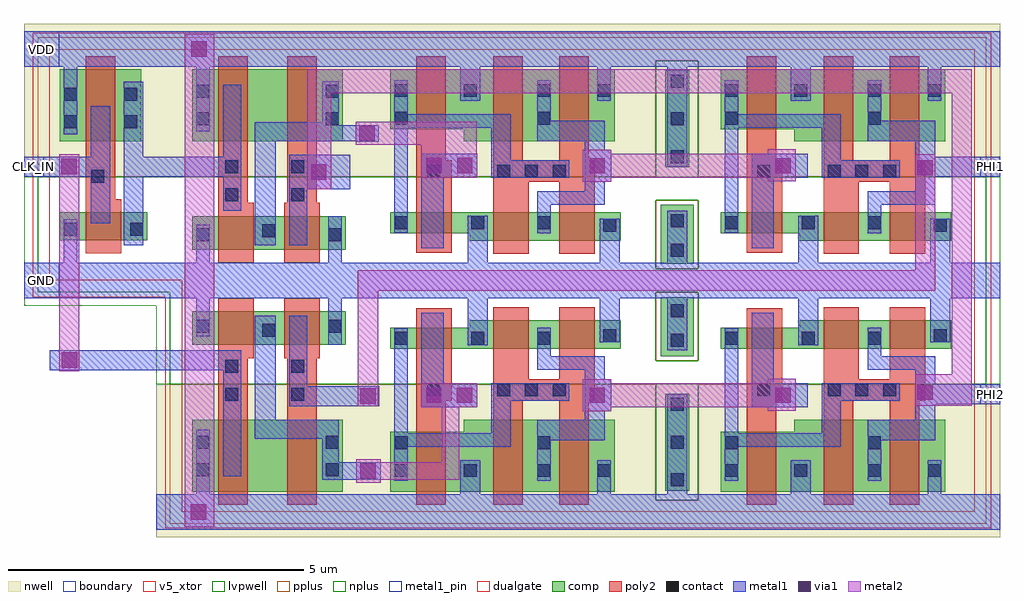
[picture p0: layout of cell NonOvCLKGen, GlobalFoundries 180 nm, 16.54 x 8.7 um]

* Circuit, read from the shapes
.subckt NonOvCLKGen CLK_IN GND PHI1 PHI2 VDD
XM1 gf180mcu_fd_sc_mcu7t5v0__nor2_1_1/A2 CLK_IN GND GND nfet_05v0 w=0.48u l=0.6u
XM2 gf180mcu_fd_sc_mcu7t5v0__clkbuf_2_7/I CLK_IN GND GND nfet_05v0 w=0.565u l=0.6u
XM3 gf180mcu_fd_sc_mcu7t5v0__clkbuf_2_8/I gf180mcu_fd_sc_mcu7t5v0__nor2_1_1/A2 GND GND nfet_05v0 w=0.565u l=0.6u
XM4 GND PHI1 gf180mcu_fd_sc_mcu7t5v0__clkbuf_2_7/I GND nfet_05v0 w=0.565u l=0.6u
XM5 GND PHI2 gf180mcu_fd_sc_mcu7t5v0__clkbuf_2_8/I GND nfet_05v0 w=0.565u l=0.6u
XM6 GND gf180mcu_fd_sc_mcu7t5v0__clkbuf_2_7/I n1 GND nfet_05v0 w=0.36u l=0.6u
XM7 GND gf180mcu_fd_sc_mcu7t5v0__clkbuf_2_8/I n2 GND nfet_05v0 w=0.36u l=0.6u
XM8 gf180mcu_fd_sc_mcu7t5v0__clkbuf_2_5/I n1 GND GND nfet_05v0 w=0.485u l=0.6u m=2
XM9 gf180mcu_fd_sc_mcu7t5v0__clkbuf_2_6/I n2 GND GND nfet_05v0 w=0.485u l=0.6u m=2
XM10 GND gf180mcu_fd_sc_mcu7t5v0__clkbuf_2_5/I n3 GND nfet_05v0 w=0.36u l=0.6u
XM11 GND gf180mcu_fd_sc_mcu7t5v0__clkbuf_2_6/I n4 GND nfet_05v0 w=0.36u l=0.6u
XM12 PHI2 n3 GND GND nfet_05v0 w=0.485u l=0.6u m=2
XM13 PHI1 n4 GND GND nfet_05v0 w=0.485u l=0.6u m=2
XM14 gf180mcu_fd_sc_mcu7t5v0__nor2_1_1/A2 CLK_IN VDD VDD pfet_05v0 w=1.22u l=0.5u
XM15 n5 CLK_IN VDD VDD pfet_05v0 w=1.22u l=0.5u
XM16 n6 gf180mcu_fd_sc_mcu7t5v0__nor2_1_1/A2 VDD VDD pfet_05v0 w=1.22u l=0.5u
XM17 gf180mcu_fd_sc_mcu7t5v0__clkbuf_2_7/I PHI1 n5 VDD pfet_05v0 w=1.22u l=0.5u
XM18 gf180mcu_fd_sc_mcu7t5v0__clkbuf_2_8/I PHI2 n6 VDD pfet_05v0 w=1.22u l=0.5u
XM19 VDD gf180mcu_fd_sc_mcu7t5v0__clkbuf_2_7/I n1 VDD pfet_05v0 w=1.02u l=0.5u
XM20 VDD gf180mcu_fd_sc_mcu7t5v0__clkbuf_2_8/I n2 VDD pfet_05v0 w=1.02u l=0.5u
XM21 gf180mcu_fd_sc_mcu7t5v0__clkbuf_2_5/I n1 VDD VDD pfet_05v0 w=1.22u l=0.5u m=2
XM22 gf180mcu_fd_sc_mcu7t5v0__clkbuf_2_6/I n2 VDD VDD pfet_05v0 w=1.22u l=0.5u m=2
XM23 VDD gf180mcu_fd_sc_mcu7t5v0__clkbuf_2_5/I n3 VDD pfet_05v0 w=1.02u l=0.5u
XM24 VDD gf180mcu_fd_sc_mcu7t5v0__clkbuf_2_6/I n4 VDD pfet_05v0 w=1.02u l=0.5u
XM25 PHI2 n3 VDD VDD pfet_05v0 w=1.22u l=0.5u m=2
XM26 PHI1 n4 VDD VDD pfet_05v0 w=1.22u l=0.5u m=2
.ends

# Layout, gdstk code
import gdstk
lib = gdstk.Library(unit=1e-6, precision=1e-09)
def R(c, l, rs):  # rectangles x0, y0, x1, y1
    for r in rs: c.add(gdstk.rectangle(r[:2], r[2:], *l))
def A(c, l, x, y, w, h, nx, ny, dx, dy):  # array of equal rectangles
    R(c, l, [(x+i*dx, y+j*dy, x+i*dx+w, y+j*dy+h) for i in range(nx) for j in range(ny)])
def P(c, l, *ps):  # polygons
    for p in ps: c.add(gdstk.Polygon(p, *l))
boundary = (0, 0)
nwell = (21, 0)
comp = (22, 0)
poly2 = (30, 0)
pplus = (31, 0)
nplus = (32, 0)
contact = (33, 0)
metal1 = (34, 0)
metal1_pin = (34, 10)
via1 = (35, 0)
metal2 = (36, 0)
dualgate = (55, 0)
v5_xtor = (112, 1)
lvpwell = (204, 0)

gf180mcu_fd_sc_mcu7t5v0_ = lib.new_cell('gf180mcu_fd_sc_mcu7t5v0__nor2_1')
R(gf180mcu_fd_sc_mcu7t5v0_, boundary, [(0,0,3.36,3.92)])
R(gf180mcu_fd_sc_mcu7t5v0_, nwell, [(-0.43,1.76,3.79,4.35)])
R(gf180mcu_fd_sc_mcu7t5v0_, comp, [(0.18,0.525,2.78,1.09), (0.18,2.36,2.73,3.58)])
P(gf180mcu_fd_sc_mcu7t5v0_, poly2, [(0.62,0.305),(0.62,3.8),(1.12,3.8),(1.12,1.315),(1.22,1.315),(1.22,0.305)],
  [(1.74,0.305),(1.74,1.315),(1.79,1.315),(1.79,3.8),(2.29,3.8),(2.29,1.315),(2.34,1.315),(2.34,0.305)])
R(gf180mcu_fd_sc_mcu7t5v0_, pplus, [(-0.2,1.76,3.56,4.12)])
R(gf180mcu_fd_sc_mcu7t5v0_, nplus, [(-0.2,-0.2,3.56,1.76)])
R(gf180mcu_fd_sc_mcu7t5v0_, contact, [(0.25,0.665,0.47,0.885), (2.49,0.665,2.71,0.885), (1.37,0.735,1.59,0.955), (0.74,1.345,0.96,1.565), (1.86,1.345,2.08,1.565), (0.74,1.815,0.96,2.035), (1.86,1.815,2.08,2.035), (0.25,2.63,0.47,2.85), (2.44,2.63,2.66,2.85), (0.25,3.1,0.47,3.32), (2.44,3.1,2.66,3.32)])
R(gf180mcu_fd_sc_mcu7t5v0_, metal1, [(0.705,1.18,1.01,3.32)])
P(gf180mcu_fd_sc_mcu7t5v0_, metal1, [(1.24,0.6),(1.24,2.68),(2.385,2.68),(2.385,3.38),(2.665,3.38),(2.665,2.36),(1.595,2.36),(1.595,0.6)],
  [(1.825,0.6),(1.825,2.13),(2.855,2.13),(2.855,1.79),(2.13,1.79),(2.13,0.6)],
  [(0,-0.3),(0,0.3),(0.245,0.3),(0.245,0.945),(0.475,0.945),(0.475,0.3),(2.485,0.3),(2.485,1.09),(2.715,1.09),(2.715,0.3),(3.36,0.3),(3.36,-0.3)],
  [(0.245,2.53),(0.245,3.62),(0,3.62),(0,4.22),(3.36,4.22),(3.36,3.62),(0.475,3.62),(0.475,2.53)])
R(gf180mcu_fd_sc_mcu7t5v0_, dualgate, [(-0.28,-0.28,3.64,4.2)])
R(gf180mcu_fd_sc_mcu7t5v0_, v5_xtor, [(0,0,3.36,3.92)])
R(gf180mcu_fd_sc_mcu7t5v0_, lvpwell, [(-0.43,-0.43,3.79,1.76)])
gf180mcu_fd_sc_mcu7t5v0_.add(gdstk.Label('VDD', (1.68,3.925), layer=34, texttype=10))
gf180mcu_fd_sc_mcu7t5v0_.add(gdstk.Label('VSS', (1.68,0), layer=34, texttype=10))
gf180mcu_fd_sc_mcu7t5v0_.add(gdstk.Label('ZN', (1.96,2.52), layer=34, texttype=10))
gf180mcu_fd_sc_mcu7t5v0_.add(gdstk.Label('A1', (1.96,1.4), layer=34, texttype=10))
gf180mcu_fd_sc_mcu7t5v0_.add(gdstk.Label('A2', (0.84,2.52), layer=34, texttype=10))
gf180mcu_fd_sc_mcu7t5v0_.add(gdstk.Label('& Vendor GLOBALFOUNDRIES', (0,2), layer=63, texttype=63))
gf180mcu_fd_sc_mcu7t5v0_.add(gdstk.Label('& Product GF018hv5v_mcu_sc7', (0,1.5), layer=63, texttype=63))
gf180mcu_fd_sc_mcu7t5v0_.add(gdstk.Label('& Version 2015q2v1', (0,1), layer=63, texttype=63))
gf180mcu_fd_sc_mcu7t5v0_.add(gdstk.Label('& Metric 1.00', (0,0.5), layer=63, texttype=63))
gf180mcu_fd_sc_mcu7t5v0_.add(gdstk.Label('VNW', (0.345,3.92), layer=21, texttype=10))
gf180mcu_fd_sc_mcu7t5v0_.add(gdstk.Label('VPW', (0.34,-0.085), layer=204, texttype=10))

c_gf180mcu_fd_sc_mcu7t5v0_ = lib.new_cell('gf180mcu_fd_sc_mcu7t5v0__filltie')
R(c_gf180mcu_fd_sc_mcu7t5v0_, boundary, [(0,0,1.12,3.92)])
R(c_gf180mcu_fd_sc_mcu7t5v0_, nwell, [(-0.43,1.76,1.55,4.35)])
R(c_gf180mcu_fd_sc_mcu7t5v0_, comp, [(0.28,0.28,0.84,1.28), (0.36,1.92,0.76,3.56)])
R(c_gf180mcu_fd_sc_mcu7t5v0_, pplus, [(0.2,0.2,0.92,1.36)])
P(c_gf180mcu_fd_sc_mcu7t5v0_, pplus, [(-0.2,1.76),(-0.2,4.12),(1.32,4.12),(1.32,1.76),(0.92,1.76),(0.92,3.72),(0.2,3.72),(0.2,1.76)])
P(c_gf180mcu_fd_sc_mcu7t5v0_, nplus, [(-0.2,-0.2),(-0.2,1.76),(0.2,1.76),(0.2,3.72),(0.92,3.72),(0.92,1.36),(0.2,1.36),(0.2,0.2),(0.92,0.2),(0.92,3.72),(0.92,1.76),(1.32,1.76),(1.32,-0.2)])
A(c_gf180mcu_fd_sc_mcu7t5v0_, contact, 0.45, 1.99, 0.22, 0.22, 1, 3, 0, 0.64)
R(c_gf180mcu_fd_sc_mcu7t5v0_, contact, [(0.45,0.4,0.67,0.62), (0.45,0.905,0.67,1.125)])
P(c_gf180mcu_fd_sc_mcu7t5v0_, metal1, [(0,-0.3),(0,0.3),(0.39,0.3),(0.39,1.185),(0.73,1.185),(0.73,0.3),(1.12,0.3),(1.12,-0.3)],
  [(0.39,1.93),(0.39,3.62),(0,3.62),(0,4.22),(1.12,4.22),(1.12,3.62),(0.73,3.62),(0.73,1.93)])
R(c_gf180mcu_fd_sc_mcu7t5v0_, dualgate, [(-0.28,-0.28,1.4,4.2)])
R(c_gf180mcu_fd_sc_mcu7t5v0_, v5_xtor, [(0,0,1.12,3.92)])
R(c_gf180mcu_fd_sc_mcu7t5v0_, lvpwell, [(-0.43,-0.43,1.55,1.76)])
c_gf180mcu_fd_sc_mcu7t5v0_.add(gdstk.Label('VDD', (0.57,3.92), layer=34, texttype=10))
c_gf180mcu_fd_sc_mcu7t5v0_.add(gdstk.Label('VSS', (0.57,0), layer=34, texttype=10))
c_gf180mcu_fd_sc_mcu7t5v0_.add(gdstk.Label('& Vendor GLOBALFOUNDRIES', (0,2), layer=63, texttype=63))
c_gf180mcu_fd_sc_mcu7t5v0_.add(gdstk.Label('& Product GF018hv5v_mcu_sc7', (0,1.5), layer=63, texttype=63))
c_gf180mcu_fd_sc_mcu7t5v0_.add(gdstk.Label('& Version 2015q2v1', (0,1), layer=63, texttype=63))
c_gf180mcu_fd_sc_mcu7t5v0_.add(gdstk.Label('& Metric 1.00', (0,0.5), layer=63, texttype=63))

c_gf180mcu_fd_sc_mcu7t5v0__ = lib.new_cell('gf180mcu_fd_sc_mcu7t5v0__clkinv_1')
R(c_gf180mcu_fd_sc_mcu7t5v0__, boundary, [(0,0,2.24,3.92)])
R(c_gf180mcu_fd_sc_mcu7t5v0__, nwell, [(-0.43,1.76,2.67,4.35)])
R(c_gf180mcu_fd_sc_mcu7t5v0__, comp, [(0.18,0.68,1.66,1.16), (0.18,2.36,1.56,3.58)])
P(c_gf180mcu_fd_sc_mcu7t5v0__, poly2, [(0.62,0.46),(0.62,3.8),(1.12,3.8),(1.12,1.38),(1.22,1.38),(1.22,0.46)])
R(c_gf180mcu_fd_sc_mcu7t5v0__, pplus, [(-0.2,1.76,2.44,4.12)])
R(c_gf180mcu_fd_sc_mcu7t5v0__, nplus, [(-0.2,-0.2,2.44,1.76)])
R(c_gf180mcu_fd_sc_mcu7t5v0__, contact, [(0.25,0.76,0.47,0.98), (1.37,0.76,1.59,0.98), (0.71,1.66,0.93,1.88), (0.25,2.58,0.47,2.8), (1.27,2.58,1.49,2.8), (0.25,3.05,0.47,3.27), (1.27,3.05,1.49,3.27)])
R(c_gf180mcu_fd_sc_mcu7t5v0__, metal1, [(1.26,0.6,1.595,3.37), (0.705,0.97,1.03,2.95)])
P(c_gf180mcu_fd_sc_mcu7t5v0__, metal1, [(0,-0.3),(0,0.3),(0.245,0.3),(0.245,1.04),(0.475,1.04),(0.475,0.3),(2.24,0.3),(2.24,-0.3)],
  [(0.245,2.48),(0.245,3.62),(0,3.62),(0,4.22),(2.24,4.22),(2.24,3.62),(0.475,3.62),(0.475,2.48)])
R(c_gf180mcu_fd_sc_mcu7t5v0__, dualgate, [(-0.28,-0.28,2.52,4.2)])
R(c_gf180mcu_fd_sc_mcu7t5v0__, v5_xtor, [(0,0,2.24,3.92)])
R(c_gf180mcu_fd_sc_mcu7t5v0__, lvpwell, [(-0.43,-0.43,2.67,1.76)])
c_gf180mcu_fd_sc_mcu7t5v0__.add(gdstk.Label('VDD', (1.4,3.92), layer=34, texttype=10))
c_gf180mcu_fd_sc_mcu7t5v0__.add(gdstk.Label('VSS', (1.4,0), layer=34, texttype=10))
c_gf180mcu_fd_sc_mcu7t5v0__.add(gdstk.Label('I', (0.84,1.96), layer=34, texttype=10))
c_gf180mcu_fd_sc_mcu7t5v0__.add(gdstk.Label('ZN', (1.4,1.96), layer=34, texttype=10))
c_gf180mcu_fd_sc_mcu7t5v0__.add(gdstk.Label('& Vendor GLOBALFOUNDRIES', (0,2), layer=63, texttype=63))
c_gf180mcu_fd_sc_mcu7t5v0__.add(gdstk.Label('& Product GF018hv5v_mcu_sc7', (0,1.5), layer=63, texttype=63))
c_gf180mcu_fd_sc_mcu7t5v0__.add(gdstk.Label('& Version 2015q2v1', (0,1), layer=63, texttype=63))
c_gf180mcu_fd_sc_mcu7t5v0__.add(gdstk.Label('& Metric 1.00', (0,0.5), layer=63, texttype=63))
c_gf180mcu_fd_sc_mcu7t5v0__.add(gdstk.Label('VNW', (0.345,3.92), layer=21, texttype=10))
c_gf180mcu_fd_sc_mcu7t5v0__.add(gdstk.Label('VPW', (0.34,-0.085), layer=204, texttype=10))

c_gf180mcu_fd_sc_mcu7t5v0___ = lib.new_cell('gf180mcu_fd_sc_mcu7t5v0__clkbuf_2')
R(c_gf180mcu_fd_sc_mcu7t5v0___, boundary, [(0,0,4.48,3.92)])
R(c_gf180mcu_fd_sc_mcu7t5v0___, nwell, [(-0.43,1.76,4.91,4.35)])
P(c_gf180mcu_fd_sc_mcu7t5v0___, comp, [(1.42,2.36),(1.42,2.56),(0.18,2.56),(0.18,3.58),(3.98,3.58),(3.98,2.36)],
  [(1.52,0.675),(1.52,0.8),(0.18,0.8),(0.18,1.16),(4.08,1.16),(4.08,0.675)])
P(c_gf180mcu_fd_sc_mcu7t5v0___, poly2, [(0.62,0.47),(0.62,3.8),(1.12,3.8),(1.12,2.035),(1.22,2.035),(1.22,0.47)],
  [(1.92,0.45),(1.92,3.8),(2.42,3.8),(2.42,2.035),(3.04,2.035),(3.04,3.8),(3.54,3.8),(3.54,2.035),(3.64,2.035),(3.64,0.45),(3.04,0.45),(3.04,1.675),(2.52,1.675),(2.52,0.45)])
R(c_gf180mcu_fd_sc_mcu7t5v0___, pplus, [(-0.2,1.76,4.68,4.12)])
R(c_gf180mcu_fd_sc_mcu7t5v0___, nplus, [(-0.2,-0.2,4.68,1.76)])
A(c_gf180mcu_fd_sc_mcu7t5v0___, contact, 1.99, 1.745, 0.22, 0.22, 3, 1, 0.47, 0)
R(c_gf180mcu_fd_sc_mcu7t5v0___, contact, [(3.79,0.825,4.01,1.045), (0.25,0.87,0.47,1.09), (1.55,0.87,1.77,1.09), (2.67,0.87,2.89,1.09), (0.8,1.745,1.02,1.965), (0.25,2.64,0.47,2.86), (2.67,2.64,2.89,2.86), (0.25,3.11,0.47,3.33), (1.42,3.11,1.64,3.33), (2.67,3.11,2.89,3.33), (3.69,3.11,3.91,3.33)])
P(c_gf180mcu_fd_sc_mcu7t5v0___, metal1, [(0.705,0.55),(0.705,2.15),(1.65,2.15),(1.65,1.74),(1.08,1.74),(1.08,0.55)],
  [(0.245,0.805),(0.245,3.39),(0.475,3.39),(0.475,2.82),(2.215,2.82),(2.215,2.04),(3.21,2.04),(3.21,1.74),(1.89,1.74),(1.89,2.59),(0.475,2.59),(0.475,0.805)],
  [(2.665,0.8),(2.665,1.51),(3.47,1.51),(3.47,2.36),(2.665,2.36),(2.665,3.39),(2.895,3.39),(2.895,2.71),(3.81,2.71),(3.81,1.28),(2.895,1.28),(2.895,0.8)],
  [(0,-0.3),(0,0.3),(1.49,0.3),(1.49,1.095),(1.83,1.095),(1.83,0.3),(3.73,0.3),(3.73,1.05),(4.07,1.05),(4.07,0.3),(4.48,0.3),(4.48,-0.3)],
  [(1.36,3.05),(1.36,3.62),(0,3.62),(0,4.22),(4.48,4.22),(4.48,3.62),(3.915,3.62),(3.915,3.05),(3.685,3.05),(3.685,3.62),(1.7,3.62),(1.7,3.05)])
R(c_gf180mcu_fd_sc_mcu7t5v0___, dualgate, [(-0.28,-0.28,4.76,4.2)])
R(c_gf180mcu_fd_sc_mcu7t5v0___, v5_xtor, [(0,0,4.48,3.92)])
R(c_gf180mcu_fd_sc_mcu7t5v0___, lvpwell, [(-0.43,-0.43,4.91,1.76)])
c_gf180mcu_fd_sc_mcu7t5v0___.add(gdstk.Label('Z', (3.08,2.52), layer=34, texttype=10))
c_gf180mcu_fd_sc_mcu7t5v0___.add(gdstk.Label('VSS', (2.185,0), layer=34, texttype=10))
c_gf180mcu_fd_sc_mcu7t5v0___.add(gdstk.Label('VDD', (2.185,3.92), layer=34, texttype=10))
c_gf180mcu_fd_sc_mcu7t5v0___.add(gdstk.Label('I', (0.84,1.4), layer=34, texttype=10))
c_gf180mcu_fd_sc_mcu7t5v0___.add(gdstk.Label('& Vendor GLOBALFOUNDRIES', (0,2), layer=63, texttype=63))
c_gf180mcu_fd_sc_mcu7t5v0___.add(gdstk.Label('& Product GF018hv5v_mcu_sc7', (0,1.5), layer=63, texttype=63))
c_gf180mcu_fd_sc_mcu7t5v0___.add(gdstk.Label('& Version 2015q2v1', (0,1), layer=63, texttype=63))
c_gf180mcu_fd_sc_mcu7t5v0___.add(gdstk.Label('& Metric 1.00', (0,0.5), layer=63, texttype=63))
c_gf180mcu_fd_sc_mcu7t5v0___.add(gdstk.Label('VNW', (0.345,3.92), layer=21, texttype=10))
c_gf180mcu_fd_sc_mcu7t5v0___.add(gdstk.Label('VPW', (0.34,-0.085), layer=204, texttype=10))

nonovclkgen = lib.new_cell('NonOvCLKGen')
R(nonovclkgen, nwell, [(-7,-3.36,-5.54,-3.025)])
R(nonovclkgen, metal1, [(-4.76,-9.34,-4.16,-9.175), (9.105,-9.34,9.54,-8.74), (-4.76,-9.175,-3.91,-8.915), (-4.76,-8.915,-4.16,-8.74), (-1.945,-8.5,-0.955,-8.2), (2.5,-7.335,2.95,-6.795), (8.1,-7.295,8.435,-7.215), (5.615,-7.27,6.105,-6.86), (-1.825,-7.25,-0.98,-6.97), (8.1,-7.215,9.54,-6.88), (-0.2,-7.205,0.615,-6.925), (-1.58,-6.97,-0.98,-6.91), (8.125,-6.88,8.42,-6.85), (-6.56,-6.64,-3.32,-6.3), (-7,-5.42,-6.4,-4.82), (9.11,-5.42,9.54,-4.82), (-2.2,-3.57,-1.475,-2.99), (2.5,-3.445,2.95,-2.905), (0.38,-3.38,0.68,-3.31), (5.615,-3.38,6.105,-2.97), (8.1,-3.38,8.23,-3.375), (8.1,-3.375,8.42,-3.36), (-7,-3.36,-5.54,-3.025), (-5.305,-3.36,-3.385,-3.025), (8.1,-3.36,9.54,-3.025), (-0.195,-3.31,0.68,-3.3), (-0.195,-3.3,0.62,-3.03), (-1.365,-2.765,-0.985,-2.76), (-1.93,-2.76,-0.985,-2.495), (-1.67,-2.495,-0.985,-2.485), (-7,-1.5,-6.4,-0.9), (9.07,-1.5,9.54,-0.9), (-4.165,-1.325,-3.905,-1.065)])
R(nonovclkgen, metal1_pin, [(9.205,-7.215,9.54,-6.88), (-7,-5.42,-6.4,-4.82), (-7,-3.36,-6.665,-3.025), (9.205,-3.36,9.54,-3.025), (-7,-1.5,-6.4,-0.9)])
R(nonovclkgen, via1, [(-4.17,-9.175,-3.91,-8.915), (-1.3,-8.48,-1.04,-8.22), (-1.3,-7.205,-1.04,-6.945), (-0.185,-7.195,0.075,-6.935), (0.335,-7.195,0.595,-6.935), (2.585,-7.195,2.845,-6.935), (5.73,-7.195,5.99,-6.935), (8.14,-7.145,8.4,-6.885), (-6.36,-6.595,-6.1,-6.335), (-2.135,-3.41,-1.875,-3.15), (8.14,-3.34,8.4,-3.08), (-6.365,-3.32,-6.105,-3.06), (2.585,-3.305,2.845,-3.045), (5.73,-3.305,5.99,-3.045), (-0.18,-3.3,0.08,-3.04), (0.34,-3.3,0.6,-3.04), (-1.315,-2.755,-1.055,-2.495), (-4.165,-1.325,-3.905,-1.065)])
R(nonovclkgen, metal2, [(-4.28,-9.29,-3.78,-0.95), (-1.37,-8.55,-0.955,-8.5), (-1.37,-8.5,0.38,-8.2), (-1.37,-8.2,-0.955,-8.15), (0.08,-8.2,0.38,-7.27), (2.47,-7.335,2.95,-7.27), (5.605,-7.325,6.075,-7.27), (-0.265,-7.27,0.68,-6.86), (2.47,-7.27,6.075,-6.86), (-1.34,-7.25,-1,-5.29), (8.1,-7.24,9.065,-6.71), (2.47,-6.86,2.95,-6.795), (5.605,-6.86,6.075,-6.785), (8.725,-6.71,9.065,-1.945), (-6.4,-6.655,-6.065,-2.98), (-1.34,-5.29,8.44,-4.95), (8.1,-4.95,8.44,-2.98), (-2.2,-3.57,-1.795,-1.945), (2.47,-3.445,2.95,-3.38), (5.605,-3.435,6.075,-3.38), (-0.265,-3.38,0.68,-2.97), (2.47,-3.38,6.075,-2.97), (-0.265,-2.97,0.675,-2.82), (2.47,-2.97,2.95,-2.905), (5.605,-2.97,6.075,-2.895), (-1.375,-2.82,0.675,-2.43), (-2.2,-1.945,9.065,-1.54)])
nonovclkgen.add(gdstk.Reference(gf180mcu_fd_sc_mcu7t5v0_, (-4.33,-5.12), x_reflection=True))
nonovclkgen.add(gdstk.Reference(gf180mcu_fd_sc_mcu7t5v0_, (-4.33,-5.12)))
nonovclkgen.add(gdstk.Reference(c_gf180mcu_fd_sc_mcu7t5v0_, (3.51,-5.12), x_reflection=True))
nonovclkgen.add(gdstk.Reference(c_gf180mcu_fd_sc_mcu7t5v0_, (3.51,-5.12)))
nonovclkgen.add(gdstk.Reference(c_gf180mcu_fd_sc_mcu7t5v0__, (-6.57,-5.12)))
nonovclkgen.add(gdstk.Reference(c_gf180mcu_fd_sc_mcu7t5v0___, (4.63,-5.12), x_reflection=True))
nonovclkgen.add(gdstk.Reference(c_gf180mcu_fd_sc_mcu7t5v0___, (4.63,-5.12)))
nonovclkgen.add(gdstk.Reference(c_gf180mcu_fd_sc_mcu7t5v0___, (-0.97,-5.12), x_reflection=True))
nonovclkgen.add(gdstk.Reference(c_gf180mcu_fd_sc_mcu7t5v0___, (-0.97,-5.12)))
nonovclkgen.add(gdstk.Label('CLK_IN', (-6.832,-3.192), layer=34, texttype=10))
nonovclkgen.add(gdstk.Label('VDD', (-6.7,-1.2), layer=34, texttype=10))
nonovclkgen.add(gdstk.Label('PHI1', (9.372,-3.192), layer=34, texttype=10))
nonovclkgen.add(gdstk.Label('PHI2', (9.372,-7.047), layer=34, texttype=10))
nonovclkgen.add(gdstk.Label('GND', (-6.7,-5.12), layer=34, texttype=10))

lib.write_gds('NonOvCLKGen.gds')
